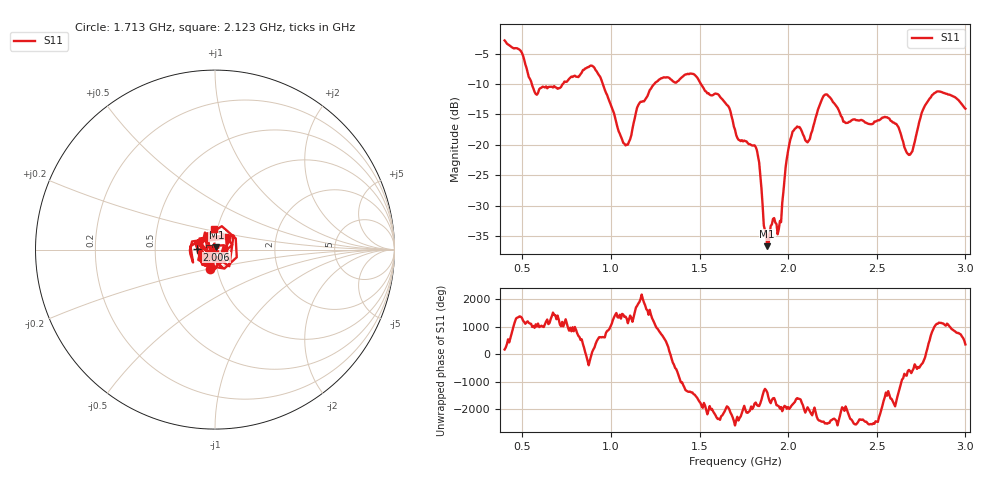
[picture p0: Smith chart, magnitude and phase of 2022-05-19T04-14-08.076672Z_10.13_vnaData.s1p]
!Created with skrf (http://scikit-rf.org).
# Hz S RI R 50.0
!freq ReS11 ImS11
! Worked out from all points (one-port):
!   401 points, 400 MHz to 3 GHz, reference 50 ohm
!   lowest |S11| = -36.6 dB at 1.882 GHz (marker M1), VSWR 1.03, Z = 50.8 + j1.28 ohm
!   |S11| at or under -10 dB: 553.5 MHz to 728.8 MHz (175.3 MHz wide, 27.3 % of centre); 953.9 MHz to 1.245 GHz (290.7 MHz wide, 26.4 % of centre); 1.508 GHz to end of sweep
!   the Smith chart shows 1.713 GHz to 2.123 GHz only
!   S11 on the Smith chart (normalised r, x): 1.713 GHz: 0.92, -0.21; 2.006 GHz: 0.82, +0.00; 2.123 GHz: 0.97, +0.22
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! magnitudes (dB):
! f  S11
! 400 MHz  -2.9
! 491 MHz  -4.6
! 575.5 MHz  -11.6
! 725 MHz  -10.1
! 900.5 MHz  -7.1
! 1.05 GHz  -18.2
! 1.095 GHz  -20.0
! 1.154 GHz  -13.5
! 1.258 GHz  -9.6
! 1.375 GHz  -9.6
! 1.472 GHz  -8.5
! 1.655 GHz  -13.4
! 1.7 GHz  -17.5
! 1.713 GHz  -18.8
! 1.823 GHz  -20.9
! 1.869 GHz  -34.0
! 1.882 GHz  -36.6
! 1.954 GHz  -32.5
! 2.006 GHz  -20.0
! 2.025 GHz  -17.8
! 2.123 GHz  -19.0
! 2.207 GHz  -11.8
! 2.35 GHz  -16.2
! 2.558 GHz  -15.5
! 2.616 GHz  -16.9
! 2.675 GHz  -21.5
! 2.825 GHz  -11.5
! 3 GHz  -14.0
